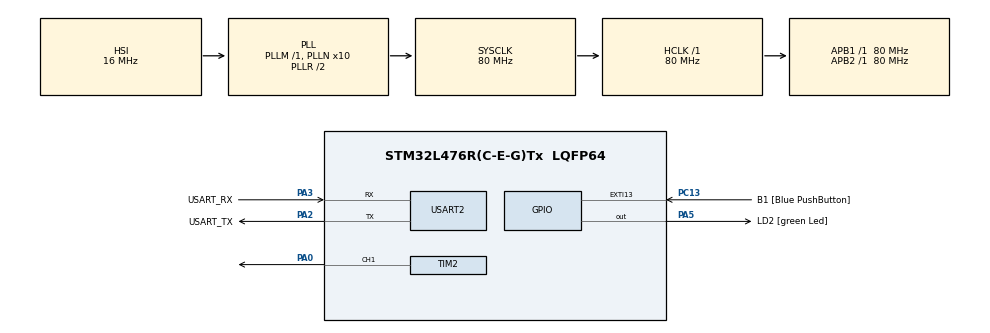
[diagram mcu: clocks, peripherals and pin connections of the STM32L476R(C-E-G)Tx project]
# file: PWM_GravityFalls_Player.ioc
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Mcu.Family=STM32L4
Mcu.Name=STM32L476R(C-E-G)Tx
Mcu.Package=LQFP64
NVIC.EXTI15_10_IRQn=true\:0\:0\:false\:false\:true\:true\:true\:true
NVIC.PriorityGroup=NVIC_PRIORITYGROUP_4
PA0.Signal=S_TIM2_CH1
PA13\ (JTMS-SWDIO).GPIO_Label=TMS
PA13\ (JTMS-SWDIO).Mode=Serial_Wire
PA13\ (JTMS-SWDIO).Signal=SYS_JTMS-SWDIO
PA14\ (JTCK-SWCLK).GPIO_Label=TCK
PA14\ (JTCK-SWCLK).Mode=Serial_Wire
PA14\ (JTCK-SWCLK).Signal=SYS_JTCK-SWCLK
PA2.GPIO_Label=USART_TX
PA2.GPIO_Mode=GPIO_MODE_AF_PP
PA2.GPIO_PuPd=GPIO_NOPULL
PA2.GPIO_Speed=GPIO_SPEED_FREQ_VERY_HIGH
PA2.Mode=Asynchronous
PA2.Signal=USART2_TX
PA3.GPIO_Label=USART_RX
PA3.GPIO_Mode=GPIO_MODE_AF_PP
PA3.GPIO_PuPd=GPIO_NOPULL
PA3.GPIO_Speed=GPIO_SPEED_FREQ_VERY_HIGH
PA3.Mode=Asynchronous
PA3.Signal=USART2_RX
PA5.GPIO_Label=LD2 [green Led]
PA5.GPIO_ModeDefaultOutputPP=GPIO_MODE_OUTPUT_PP
PA5.GPIO_PuPd=GPIO_NOPULL
PA5.GPIO_Speed=GPIO_SPEED_FREQ_LOW
PA5.Signal=GPIO_Output
PB3\ (JTDO-TRACESWO).GPIO_Label=SWO
PB3\ (JTDO-TRACESWO).Signal=SYS_JTDO-SWO
PC13.GPIO_Label=B1 [Blue PushButton]
PC13.GPIO_ModeDefaultEXTI=GPIO_MODE_IT_RISING_FALLING
PC13.GPIO_PuPd=GPIO_NOPULL
PC13.Signal=GPXTI13
PC14-OSC32_IN\ (PC14).Mode=LSE-External-Oscillator
PC14-OSC32_IN\ (PC14).Signal=RCC_OSC32_IN
PC15-OSC32_OUT\ (PC15).Mode=LSE-External-Oscillator
PC15-OSC32_OUT\ (PC15).Signal=RCC_OSC32_OUT
PH0-OSC_IN\ (PH0).Signal=RCC_OSC_IN
PH1-OSC_OUT\ (PH1).Signal=RCC_OSC_OUT
ProjectManager.HeapSize=0x200
ProjectManager.StackSize=0x400
ProjectManager.TargetToolchain=CMake
RCC.ADCFreq_Value=64000000
RCC.AHBFreq_Value=80000000
RCC.APB1Freq_Value=80000000
RCC.APB1TimFreq_Value=80000000
RCC.APB2Freq_Value=80000000
RCC.APB2TimFreq_Value=80000000
RCC.CortexFreq_Value=80000000
RCC.HCLKFreq_Value=80000000
RCC.HSE_VALUE=8000000
RCC.HSI_VALUE=16000000
RCC.MSI_VALUE=4000000
RCC.PLLN=10
RCC.PLLSourceVirtual=RCC_PLLSOURCE_HSI
RCC.PREFETCH_ENABLE=1
RCC.SYSCLKFreq_VALUE=80000000
RCC.SYSCLKSource=RCC_SYSCLKSOURCE_PLLCLK
RCC.USBFreq_Value=64000000
RCC.VCOOutputFreq_Value=160000000
SH.S_TIM2_CH1.0=TIM2_CH1,PWM Generation1 CH1
TIM2.Channel-PWM\ Generation1\ CH1=TIM_CHANNEL_1
TIM2.Period=1000
TIM2.Prescaler=79
TIM2.Pulse-PWM\ Generation1\ CH1=10
USART2.VirtualMode-Asynchronous=VM_ASYNC
VP_TIM2_VS_ClockSourceINT.Mode=Internal
board=NUCLEO-L476RG

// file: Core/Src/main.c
/* USER CODE BEGIN Header */
/**
 ******************************************************************************
 * @file           : main.c
 * @brief          : Main program body
 ******************************************************************************
 * @attention
 *
 * Copyright (c) 2026 STMicroelectronics.
 * All rights reserved.
 *
 * This software is licensed under terms that can be found in the LICENSE file
 * in the root directory of this software component.
 * If no LICENSE file comes with this software, it is provided AS-IS.
 *
 ******************************************************************************
 */
/* USER CODE END Header */
#include "main.h"

/* USER CODE BEGIN Includes */
#include "controller/pwm_controller.h"
#include "led/led_controller.h"
#include "schedule_controller.h"
#include "stm32l4xx_hal_gpio.h"
#include "stm32l4xx_hal_tim.h"
#include <stdint.h>

/* USER CODE END Includes */

TIM_HandleTypeDef htim2;

UART_HandleTypeDef huart2;

void SystemClock_Config(void);
static void MX_GPIO_Init(void);
static void MX_USART2_UART_Init(void);
static void MX_TIM2_Init(void);
/* USER CODE BEGIN PFP */
static void process_button_events(void);
/* USER CODE END PFP */

int main(void) {

    /* MCU Configuration--------------------------------------------------------*/

    /* Reset of all peripherals, Initializes the Flash interface and the Systick. */
    HAL_Init();

    /* Configure the system clock */
    SystemClock_Config();

    /* Initialize all configured peripherals */
    MX_GPIO_Init();
    MX_USART2_UART_Init();
    MX_TIM2_Init();
    /* USER CODE BEGIN 2 */
    GPIO_InitTypeDef GPIO_InitStruct = {0};

    __HAL_RCC_GPIOC_CLK_ENABLE();

    GPIO_InitStruct.Pin = B1_Pin; // Blue button

    LED_Controller_Init();
    PWM_Controller_Init(&htim2);
    ScheduleController_Init();
    /* USER CODE END 2 */

    /* Infinite loop */
    /* USER CODE BEGIN WHILE */

    while (1) {
        process_button_events();
        ScheduleController_Process();
        /* USER CODE END WHILE */

    }
}

void SystemClock_Config(void) {
    RCC_OscInitTypeDef RCC_OscInitStruct = {0};
    RCC_ClkInitTypeDef RCC_ClkInitStruct = {0};

    /** Configure the main internal regulator output voltage
     */
    if (HAL_PWREx_ControlVoltageScaling(PWR_REGULATOR_VOLTAGE_SCALE1) != HAL_OK) {
        Error_Handler();
    }

    /** Initializes the RCC Oscillators according to the specified parameters
     * in the RCC_OscInitTypeDef structure.
     */
    RCC_OscInitStruct.OscillatorType = RCC_OSCILLATORTYPE_HSI;
    RCC_OscInitStruct.HSIState = RCC_HSI_ON;
    RCC_OscInitStruct.HSICalibrationValue = RCC_HSICALIBRATION_DEFAULT;
    RCC_OscInitStruct.PLL.PLLState = RCC_PLL_ON;
    RCC_OscInitStruct.PLL.PLLSource = RCC_PLLSOURCE_HSI;
    RCC_OscInitStruct.PLL.PLLM = 1;
    RCC_OscInitStruct.PLL.PLLN = 10;
    RCC_OscInitStruct.PLL.PLLP = RCC_PLLP_DIV7;
    RCC_OscInitStruct.PLL.PLLQ = RCC_PLLQ_DIV2;
    RCC_OscInitStruct.PLL.PLLR = RCC_PLLR_DIV2;
    if (HAL_RCC_OscConfig(&RCC_OscInitStruct) != HAL_OK) {
        Error_Handler();
    }

    /** Initializes the CPU, AHB and APB buses clocks
     */
    RCC_ClkInitStruct.ClockType =
        RCC_CLOCKTYPE_HCLK | RCC_CLOCKTYPE_SYSCLK | RCC_CLOCKTYPE_PCLK1 | RCC_CLOCKTYPE_PCLK2;
    RCC_ClkInitStruct.SYSCLKSource = RCC_SYSCLKSOURCE_PLLCLK;
    RCC_ClkInitStruct.AHBCLKDivider = RCC_SYSCLK_DIV1;
    RCC_ClkInitStruct.APB1CLKDivider = RCC_HCLK_DIV1;
    RCC_ClkInitStruct.APB2CLKDivider = RCC_HCLK_DIV1;

    if (HAL_RCC_ClockConfig(&RCC_ClkInitStruct, FLASH_LATENCY_4) != HAL_OK) {
        Error_Handler();
    }
}

static void MX_TIM2_Init(void) {

    TIM_ClockConfigTypeDef sClockSourceConfig = {0};
    TIM_MasterConfigTypeDef sMasterConfig = {0};
    TIM_OC_InitTypeDef sConfigOC = {0};

    htim2.Instance = TIM2;
    htim2.Init.Prescaler = 79;
    htim2.Init.CounterMode = TIM_COUNTERMODE_UP;
    htim2.Init.Period = 1000;
    htim2.Init.ClockDivision = TIM_CLOCKDIVISION_DIV1;
    htim2.Init.AutoReloadPreload = TIM_AUTORELOAD_PRELOAD_DISABLE;
    if (HAL_TIM_Base_Init(&htim2) != HAL_OK) {
        Error_Handler();
    }
    sClockSourceConfig.ClockSource = TIM_CLOCKSOURCE_INTERNAL;
    if (HAL_TIM_ConfigClockSource(&htim2, &sClockSourceConfig) != HAL_OK) {
        Error_Handler();
    }
    if (HAL_TIM_PWM_Init(&htim2) != HAL_OK) {
        Error_Handler();
    }
    sMasterConfig.MasterOutputTrigger = TIM_TRGO_RESET;
    sMasterConfig.MasterSlaveMode = TIM_MASTERSLAVEMODE_DISABLE;
    if (HAL_TIMEx_MasterConfigSynchronization(&htim2, &sMasterConfig) != HAL_OK) {
        Error_Handler();
    }
    sConfigOC.OCMode = TIM_OCMODE_PWM1;
    sConfigOC.Pulse = 10;
    sConfigOC.OCPolarity = TIM_OCPOLARITY_HIGH;
    sConfigOC.OCFastMode = TIM_OCFAST_DISABLE;
    if (HAL_TIM_PWM_ConfigChannel(&htim2, &sConfigOC, TIM_CHANNEL_1) != HAL_OK) {
        Error_Handler();
    }
    HAL_TIM_MspPostInit(&htim2);
}

static void MX_USART2_UART_Init(void) {

    huart2.Instance = USART2;
    huart2.Init.BaudRate = 115200;
    huart2.Init.WordLength = UART_WORDLENGTH_8B;
    huart2.Init.StopBits = UART_STOPBITS_1;
    huart2.Init.Parity = UART_PARITY_NONE;
    huart2.Init.Mode = UART_MODE_TX_RX;
    huart2.Init.HwFlowCtl = UART_HWCONTROL_NONE;
    huart2.Init.OverSampling = UART_OVERSAMPLING_16;
    huart2.Init.OneBitSampling = UART_ONE_BIT_SAMPLE_DISABLE;
    huart2.AdvancedInit.AdvFeatureInit = UART_ADVFEATURE_NO_INIT;
    if (HAL_UART_Init(&huart2) != HAL_OK) {
        Error_Handler();
    }
}

static void MX_GPIO_Init(void) {
    GPIO_InitTypeDef GPIO_InitStruct = {0};

    /* GPIO Ports Clock Enable */
    __HAL_RCC_GPIOC_CLK_ENABLE();
    __HAL_RCC_GPIOH_CLK_ENABLE();
    __HAL_RCC_GPIOA_CLK_ENABLE();
    __HAL_RCC_GPIOB_CLK_ENABLE();

    /*Configure GPIO pin Output Level */
    HAL_GPIO_WritePin(LD2_GPIO_Port, LD2_Pin, GPIO_PIN_RESET);

    /*Configure GPIO pin : B1_Pin */
    GPIO_InitStruct.Pin = B1_Pin;
    GPIO_InitStruct.Mode = GPIO_MODE_IT_RISING_FALLING;
    GPIO_InitStruct.Pull = GPIO_NOPULL;
    HAL_GPIO_Init(B1_GPIO_Port, &GPIO_InitStruct);

    /*Configure GPIO pin : LD2_Pin */
    GPIO_InitStruct.Pin = LD2_Pin;
    GPIO_InitStruct.Mode = GPIO_MODE_OUTPUT_PP;
    GPIO_InitStruct.Pull = GPIO_NOPULL;
    GPIO_InitStruct.Speed = GPIO_SPEED_FREQ_LOW;
    HAL_GPIO_Init(LD2_GPIO_Port, &GPIO_InitStruct);

    /* EXTI interrupt init*/
    HAL_NVIC_SetPriority(EXTI15_10_IRQn, 0, 0);
    HAL_NVIC_EnableIRQ(EXTI15_10_IRQn);

}

/* USER CODE BEGIN 4 */

uint32_t press_start_time = 0;
uint8_t is_pressed = 0;

volatile uint8_t click_count = 0;
volatile uint8_t click_timer_armed = 0;

static void evaluate_clicks_cb(void) {
    uint8_t count = click_count;
    click_count = 0;
    click_timer_armed = 0;

    if (count == 1) {
        LED_Controller_Toggle();
    } else if (count == 2) {
        LED_Controller_NextAnimation();
        PWM_Controller_Next_Song();
    } else if (count >= 3) {
        LED_Controller_PrevAnimation();
        PWM_Controller_Next_Song();
    }
}

uint8_t b1_event_interrupt = 0;
#define INTERRUPT_EVENT_BUFFER_SIZE 10

#define EVENT_QUEUE_SIZE 10

typedef struct {
    GPIO_PinState pin_state;
    uint32_t timestamp;
} ButtonEvent_t;

volatile ButtonEvent_t event_queue[EVENT_QUEUE_SIZE];
volatile uint8_t head = 0;
volatile uint8_t tail = 0;

/**
    *@details I could use here more flags and separate execution button handlers and processing events. But that would require more code and I want to keep it simple.
*/
static void process_button_events(void) {
    while (tail != head) {
        ButtonEvent_t event = event_queue[tail];
        tail = (uint8_t)((tail + 1) % EVENT_QUEUE_SIZE);

        if (event.pin_state == GPIO_PIN_RESET) {
            press_start_time = event.timestamp;
            is_pressed = 1;
        } else if (is_pressed) {
            uint32_t duration = event.timestamp - press_start_time;

            if (duration > 500) {
                LED_Controller_Toggle();
                (void)ScheduleController_Schedule(100, LED_Controller_Toggle);

                click_count = 0;
                click_timer_armed = 0;
            } else if (duration > 50) {
                click_count++;
                if (!click_timer_armed) {
                    click_timer_armed = 1;
                    (void)ScheduleController_Schedule(300, evaluate_clicks_cb);
                }
            }
            is_pressed = 0;
        }
    }
}

void HAL_GPIO_EXTI_Callback(uint16_t GPIO_Pin) {
    switch (GPIO_Pin) {
    case B1_Pin: {
        uint8_t next_head = (head + 1) % EVENT_QUEUE_SIZE;

        if (next_head != tail) {
            event_queue[head].pin_state = HAL_GPIO_ReadPin(B1_GPIO_Port, B1_Pin);
            event_queue[head].timestamp = HAL_GetTick();
            head = next_head;
        } else {
            LED_Controller_SetAnimation(LED_BLINK);
        }

        break;
    }

    default:
        break;
    }
}
/* USER CODE END 4 */

void Error_Handler(void) {
    __disable_irq();
    while (1) {
    }
}
#ifdef USE_FULL_ASSERT
/**
 * @brief  Reports the name of the source file and the source line number
 *         where the assert_param error has occurred.
 * @param  file: pointer to the source file name
 * @param  line: assert_param error line source number
 * @retval None
 */
void assert_failed(uint8_t* file, uint32_t line) {
    /* USER CODE BEGIN 6 */
    /* User can add his own implementation to report the file name and line
       number, ex: printf("Wrong parameters value: file %s on line %d\r\n", file,
       line) */
    /* USER CODE END 6 */
}
#endif /* USE_FULL_ASSERT */
